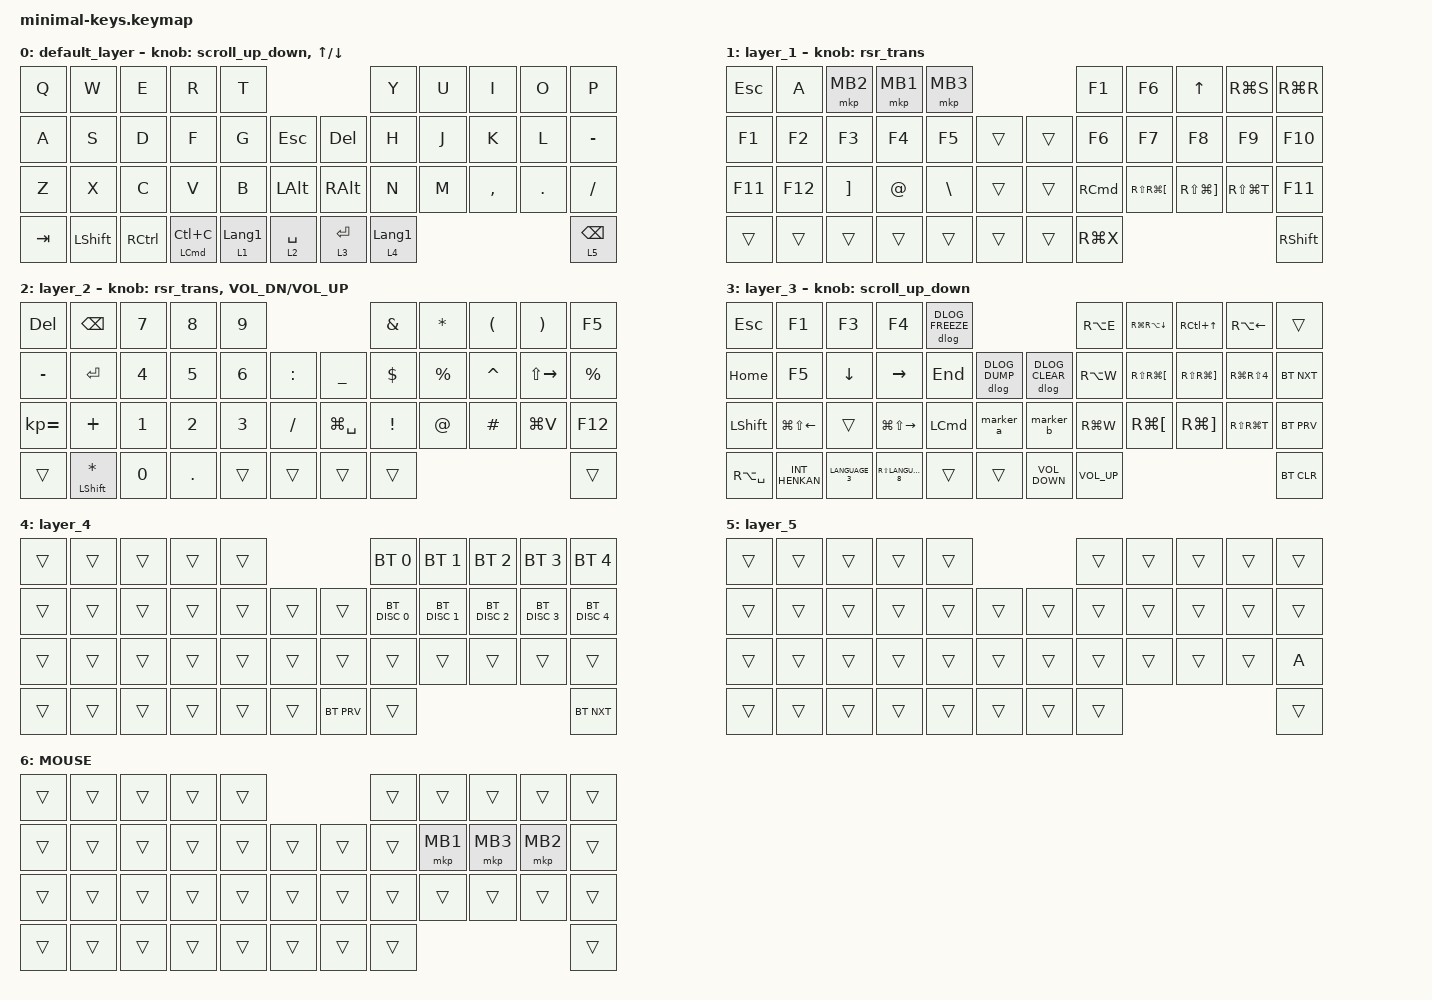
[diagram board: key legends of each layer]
#include <behaviors/runtime-sensor-rotate.dtsi>
#include <dt-bindings/zmk/data-logger.h>
#include <behaviors.dtsi>
#include <dt-bindings/zmk/bt.h>
#include <dt-bindings/zmk/keys.h>
#include <dt-bindings/zmk/pointing.h>

#undef ZMK_POINTING_DEFAULT_SCRL_VAL

#define ZMK_POINTING_DEFAULT_SCRL_VAL 100
#define MOUSE 6

&mt {
    flavor = "balanced";
    quick-tap-ms = <0>;
};

&rsr_trans {
    cw-binding = <&kp C_VOL_UP>;
    ccw-binding = <&kp C_VOL_DN>;
    tap-ms = <5>;
};

/ {
    combos { compatible = "zmk,combos"; };

    macros {
        to_layer_0: to_layer_0 {
            compatible = "zmk,behavior-macro-one-param";
            #binding-cells = <1>;
            bindings = <&to 0 &macro_param_1to1 &kp MACRO_PLACEHOLDER>;
            label = "TO_LAYER_0";
        };

        // Data logger markers: stamp the ring buffer + send F13/F14 so the
        // host-side event logger can record the press timestamp for sync.

        marker_a: marker_a {
            compatible = "zmk,behavior-macro";
            #binding-cells = <0>;
            bindings = <&dlog DLOG_MARKER_A &kp F13>;
            label = "DLOG_MARKER_A";
        };

        marker_b: marker_b {
            compatible = "zmk,behavior-macro";
            #binding-cells = <0>;
            bindings = <&dlog DLOG_MARKER_B &kp F14>;
            label = "DLOG_MARKER_B";
        };
    };

    behaviors {
        lt_rep: lt_rep {
            compatible = "zmk,behavior-hold-tap";
            label = "LAYER_TAP_REPEAT";
            #binding-cells = <2>;
            flavor = "balanced";
            tapping-term-ms = <200>;
            quick-tap-ms = <150>;
            bindings = <&mo>, <&kp>;
        };

        lt_to_layer_0: lt_to_layer_0 {
            compatible = "zmk,behavior-hold-tap";
            label = "LAYER_TAP_TO_0";
            bindings = <&mo>, <&to_layer_0>;

            #binding-cells = <2>;
            tapping-term-ms = <200>;
        };

        scroll_up_down: behavior_sensor_rotate_mouse_wheel_up_down {
            compatible = "zmk,behavior-sensor-rotate";
            #sensor-binding-cells = <0>;
            bindings = <&msc SCRL_UP>, <&msc SCRL_DOWN>;

            tap-ms = <20>;
        };

        scroll: scroll {
            compatible = "zmk,behavior-sensor-rotate";
            label = "SCROLL";
            #sensor-binding-cells = <0>;
            bindings = <&msc SCRL_DOWN>, <&msc SCRL_UP>;
        };
    };

    keymap {
        compatible = "zmk,keymap";

        default_layer {
            bindings = <
&kp Q    &kp W           &kp E              &kp R                   &kp T                                            &kp Y             &kp U  &kp I      &kp O    &kp P
&kp A    &kp S           &kp D              &kp F                   &kp G             &kp ESCAPE      &kp DELETE     &kp H             &kp J  &kp K      &kp L    &kp MINUS
&kp Z    &kp X           &kp C              &kp V                   &kp B             &kp LEFT_ALT    &kp RIGHT_ALT  &kp N             &kp M  &kp COMMA  &kp DOT  &kp SLASH
&kp TAB  &kp LEFT_SHIFT  &kp RIGHT_CONTROL  &mt LEFT_COMMAND LC(C)  &lt 1 LANGUAGE_1  &lt 2 SPACE     &lt 3 ENTER    &lt 4 LANGUAGE_1                             &lt 5 BACKSPACE
            >;

            sensor-bindings =
                <&scroll_up_down>,
                <&inc_dec_kp UP_ARROW DOWN_ARROW>;
        };

        layer_1 {
            bindings = <
&kp ESCAPE  &kp A    &mkp MB2           &mkp MB1  &mkp MB3                         &kp F1     &kp F6                    &kp UP_ARROW               &kp RG(S)      &kp RG(R)
&kp F1      &kp F2   &kp F3             &kp F4    &kp F5         &trans    &trans  &kp F6     &kp F7                    &kp F8                     &kp F9         &kp F10
&kp F11     &kp F12  &kp RIGHT_BRACKET  &kp AT    &kp BACKSLASH  &trans    &trans  &kp RCMD   &kp RS(RG(LEFT_BRACKET))  &kp RS(LG(RIGHT_BRACKET))  &kp RS(LG(T))  &kp F11
&trans      &trans   &trans             &trans    &trans         &trans    &trans  &kp RG(X)                                                                      &kp RIGHT_SHIFT
            >;

            sensor-bindings = <&rsr_trans>;
        };

        layer_2 {
            bindings = <
&kp DEL       &kp BACKSPACE         &kp NUMBER_7  &kp NUMBER_8  &kp NUMBER_9                               &kp AMPERSAND  &kp ASTERISK  &kp LEFT_PARENTHESIS  &kp RIGHT_PARENTHESIS  &kp F5
&kp MINUS     &kp ENTER             &kp NUMBER_4  &kp NUMBER_5  &kp NUMBER_6  &kp COLON    &kp UNDERSCORE  &kp DOLLAR     &kp PERCENT   &kp CARET             &kp LS(RIGHT_ARROW)    &kp PERCENT
&kp KP_EQUAL  &kp PLUS              &kp NUMBER_1  &kp NUMBER_2  &kp NUMBER_3  &kp SLASH    &kp LG(SPACE)   &kp EXCL       &kp AT_SIGN   &kp HASH              &kp LG(V)              &kp F12
&trans        &mt LEFT_SHIFT ASTRK  &kp NUMBER_0  &kp PERIOD    &trans        &trans       &trans          &trans                                                                    &trans
            >;

            sensor-bindings = <&rsr_trans>, <&inc_dec_kp C_VOL_DN C_VOL_UP>;
        };

        layer_3 {
            bindings = <
&kp ESCAPE      &kp F1                  &kp F3          &kp F4                   &dlog DLOG_FREEZE                                        &kp RA(E)        &kp RG(RA(DOWN_ARROW))    &kp RC(UP_ARROW)           &kp RA(LEFT_ARROW)    &trans
&kp HOME        &kp F5                  &kp DOWN_ARROW  &kp RIGHT_ARROW          &kp END            &dlog DLOG_DUMP    &dlog DLOG_CLEAR   &kp RA(W)        &kp RS(RG(LEFT_BRACKET))  &kp RS(RG(RIGHT_BRACKET))  &kp RG(RS(NUMBER_4))  &bt BT_NXT
&kp LEFT_SHIFT  &kp LG(LS(LEFT_ARROW))  &trans          &kp LG(LS(RIGHT_ARROW))  &kp LEFT_COMMAND   &marker_a          &marker_b          &kp RG(W)        &kp RG(LEFT_BRACKET)      &kp RG(RIGHT_BRACKET)      &kp RS(RG(T))         &bt BT_PRV
&kp RA(SPACE)   &kp INT_HENKAN          &kp LANGUAGE_3  &kp RS(LANGUAGE_8)       &trans             &trans             &kp C_VOLUME_DOWN  &kp C_VOLUME_UP                                                                             &bt BT_CLR
            >;

            sensor-bindings = <&scroll_up_down>;
        };

        layer_4 {
            bindings = <
&trans  &trans  &trans  &trans  &trans                        &bt BT_SEL 0   &bt BT_SEL 1   &bt BT_SEL 2   &bt BT_SEL 3   &bt BT_SEL 4
&trans  &trans  &trans  &trans  &trans  &trans    &trans      &bt BT_DISC 0  &bt BT_DISC 1  &bt BT_DISC 2  &bt BT_DISC 3  &bt BT_DISC 4
&trans  &trans  &trans  &trans  &trans  &trans    &trans      &trans         &trans         &trans         &trans         &trans
&trans  &trans  &trans  &trans  &trans  &trans    &bt BT_PRV  &trans                                                      &bt BT_NXT
            >;
        };

        layer_5 {
            bindings = <
&trans  &trans  &trans  &trans  &trans                    &trans  &trans  &trans  &trans  &trans
&trans  &trans  &trans  &trans  &trans  &trans    &trans  &trans  &trans  &trans  &trans  &trans
&trans  &trans  &trans  &trans  &trans  &trans    &trans  &trans  &trans  &trans  &trans  &kp A
&trans  &trans  &trans  &trans  &trans  &trans    &trans  &trans                          &trans
            >;
        };

        MOUSE {
            bindings = <
&trans  &trans  &trans  &trans  &trans                    &trans  &trans    &trans    &trans    &trans
&trans  &trans  &trans  &trans  &trans  &trans    &trans  &trans  &mkp MB1  &mkp MB3  &mkp MB2  &trans
&trans  &trans  &trans  &trans  &trans  &trans    &trans  &trans  &trans    &trans    &trans    &trans
&trans  &trans  &trans  &trans  &trans  &trans    &trans  &trans                                &trans
            >;
        };
    };
};
